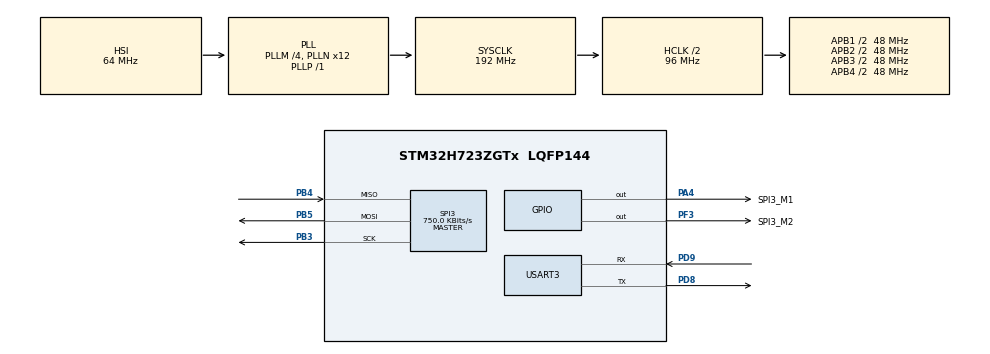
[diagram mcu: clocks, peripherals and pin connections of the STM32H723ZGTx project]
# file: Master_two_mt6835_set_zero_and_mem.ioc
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Mcu.Family=STM32H7
Mcu.Name=STM32H723ZGTx
Mcu.Package=LQFP144
NVIC.PriorityGroup=NVIC_PRIORITYGROUP_4
NVIC.SPI3_IRQn=true\:0\:0\:false\:false\:true\:true\:true\:true
PA4.GPIO_Label=SPI3_M1
PA4.PinState=GPIO_PIN_SET
PA4.Signal=GPIO_Output
PB3(JTDO/TRACESWO).Mode=Full_Duplex_Master
PB3(JTDO/TRACESWO).Signal=SPI3_SCK
PB4(NJTRST).Mode=Full_Duplex_Master
PB4(NJTRST).Signal=SPI3_MISO
PB5.Mode=Full_Duplex_Master
PB5.Signal=SPI3_MOSI
PD8.Mode=Asynchronous
PD8.Signal=USART3_TX
PD9.Mode=Asynchronous
PD9.Signal=USART3_RX
PF3.GPIO_Label=SPI3_M2
PF3.PinState=GPIO_PIN_SET
PF3.Signal=GPIO_Output
ProjectManager.HeapSize=0x200
ProjectManager.StackSize=0x400
ProjectManager.TargetToolchain=STM32CubeIDE
RCC.ADCFreq_Value=608000000
RCC.APB1Freq_Value=48000000
RCC.APB2Freq_Value=48000000
RCC.APB3Freq_Value=48000000
RCC.APB4Freq_Value=48000000
RCC.CortexFreq_Value=192000000
RCC.D1PPRE=RCC_APB3_DIV2
RCC.D2PPRE1=RCC_APB1_DIV2
RCC.D2PPRE2=RCC_APB2_DIV2
RCC.D3PPRE=RCC_APB4_DIV2
RCC.DIVM1=4
RCC.DIVM2=1
RCC.DIVN1=12
RCC.DIVN2=19
RCC.DIVP1=1
RCC.DIVQ1=4
RCC.HCLKFreq_Value=96000000
RCC.HPRE=RCC_HCLK_DIV2
RCC.HSE_VALUE=8000000
RCC.PLLFRACN=0
RCC.SYSCLKFreq_VALUE=192000000
RCC.SYSCLKSource=RCC_SYSCLKSOURCE_PLLCLK
RCC.USBCLockSelection=RCC_USBCLKSOURCE_HSI48
RCC.USBFreq_Value=48000000
SPI3.BaudRatePrescaler=SPI_BAUDRATEPRESCALER_64
SPI3.CLKPhase=SPI_PHASE_2EDGE
SPI3.CLKPolarity=SPI_POLARITY_HIGH
SPI3.CalculateBaudRate=750.0 KBits/s
SPI3.DataSize=SPI_DATASIZE_8BIT
SPI3.Direction=SPI_DIRECTION_2LINES
SPI3.Mode=SPI_MODE_MASTER
SPI3.VirtualType=VM_MASTER
USART3.VirtualMode-Asynchronous=VM_ASYNC
VP_MEMORYMAP_VS_MEMORYMAP.Mode=CurAppReg
board=NUCLEO-H723ZG

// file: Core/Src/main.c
/* USER CODE BEGIN Header */
/**
 ******************************************************************************
 * @file           : main.c
 * @brief          : Main program body
 ******************************************************************************
 * @attention
 *
 * Copyright (c) 2025 STMicroelectronics.
 * All rights reserved.
 *
 * This software is licensed under terms that can be found in the LICENSE file
 * in the root directory of this software component.
 * If no LICENSE file comes with this software, it is provided AS-IS.
 *
 ******************************************************************************
 */
/* USER CODE END Header */
#include "main.h"
#include "memorymap.h"
#include "spi.h"
#include "usart.h"
#include "gpio.h"

/* USER CODE BEGIN Includes */
#include "mt6835.h" // MT6835 驱�?�头�?件
#include "string.h"
#include "stdio.h"
/* USER CODE END Includes */

void SystemClock_Config(void);

/* USER CODE BEGIN 0 */

int _write(int file, char *ptr, int len) {
	HAL_UART_Transmit(&huart3, (uint8_t*) ptr, len, HAL_MAX_DELAY);
	return len;
}

#define SPI_INSTANCE hspi3             // SPI3
//#define SPI_CS       SPI3_M1_Pin       // STM32CubeMX �?�??�?? CS 引�??
//#define SPI_CS_PORT  SPI3_M1_GPIO_Port // STM32CubeMX �?�??�?? CS 端�?�

#define SPI_M1_CS       SPI3_M1_Pin       // CS M1
#define SPI_M1_CS_PORT  SPI3_M1_GPIO_Port //
#define SPI_M2_CS       SPI3_M2_Pin       // CS M2
#define SPI_M2_CS_PORT  SPI3_M2_GPIO_Port //

static void mt6835_cs_control(mt6835_cs_state_enum_t state) {
	if (state == MT6835_CS_HIGH) {
		// 高电平
		HAL_GPIO_WritePin(SPI_M1_CS_PORT, SPI_M1_CS, GPIO_PIN_SET);
	} else {
		// 低电平
		HAL_GPIO_WritePin(SPI_M1_CS_PORT, SPI_M1_CS, GPIO_PIN_RESET);
	}
}

static void mt6835_cs2_control(mt6835_cs_state_enum_t state) {
	if (state == MT6835_CS_HIGH) {
		// 高电平
		HAL_GPIO_WritePin(SPI_M2_CS_PORT, SPI_M2_CS, GPIO_PIN_SET);
	} else {
		// 低电平
		HAL_GPIO_WritePin(SPI_M2_CS_PORT, SPI_M2_CS, GPIO_PIN_RESET);
	}
}

static void mt6835_spi_send_recv(uint8_t *tx_buf, uint8_t *rx_buf, uint8_t len) {
	HAL_StatusTypeDef status = HAL_OK;
	status = HAL_SPI_TransmitReceive_IT(&SPI_INSTANCE, tx_buf, rx_buf, len);
	if (status != HAL_OK) {
		printf("spi send_recv failed %d\n\r", status);
		return;
	}
	// wait IT
	uint32_t tickstart = HAL_GetTick();
	while (HAL_SPI_GetState(&SPI_INSTANCE) != HAL_SPI_STATE_READY) {
		if (HAL_GetTick() - tickstart > 1) {
			printf("spi send_recv timeout\n\r");
			return;
		}
	}
}
/* USER CODE END 0 */

int main(void) {

	/* MCU Configuration--------------------------------------------------------*/

	/* Reset of all peripherals, Initializes the Flash interface and the Systick. */
	HAL_Init();

	/* Configure the system clock */
	SystemClock_Config();

	/* Initialize all configured peripherals */
	MX_GPIO_Init();
	MX_SPI3_Init();
	MX_USART3_UART_Init();
	/* USER CODE BEGIN 2 */

	mt6835_t *mt6835_1;
	mt6835_t *mt6835_2;

	mt6835_1 = mt6835_create();
	mt6835_2 = mt6835_create();

	mt6835_link_spi_cs_control(mt6835_1, mt6835_cs_control);
	mt6835_link_spi_cs_control(mt6835_2, mt6835_cs2_control);

	mt6835_link_spi_send_recv(mt6835_1, mt6835_spi_send_recv);
	mt6835_link_spi_send_recv(mt6835_2, mt6835_spi_send_recv);

	mt6835_enable_crc_check(mt6835_1);
	mt6835_enable_crc_check(mt6835_2);

	uint32_t raw_angle_1 = 0, raw_angle_2 = 0;
	float radian_angle_1 = 0.0f, radian_angle_2 = 0.0f;
	/*
	 //Set ID_1
	 mt6835_set_id(mt6835_1, 0x00);
	 HAL_Delay(1);
	 uint8_t id = mt6835_get_id(mt6835_1);
	 //Show ID_1
	 printf("id: 0x%x\r\n", id);
	 //Show ID_1
	 */

	/*
	 mt6835_set_zero_angle(mt6835_1, 2.0943951024f); //Set by RAD
	 HAL_Delay(1);
	 float zero_angle = mt6835_get_zero_angle(mt6835_1)
	 printf("Zero_angle: %f rad\r\n",zero_angle);
	     bool respond = mt6835_write_eeprom(mt6835);
    if (!respond) {
        printf("write eeprom failed\r\n");
    } else {
        printf("write eeprom success\r\n");
    }
    HAL_Delay(6000);    // 写入后至少 6 秒钟不能断电

	 */

	/* USER CODE END 2 */

	/* Infinite loop */
	while (1) {

		/*Show Data
		 * raw_angle_1 = mt6835_get_raw_angle(mt6835_1,MT6835_READ_ANGLE_METHOD_NORMAL);
		 radian_angle_1 = raw_angle_1 * (M_PI * 2.0f) / MT6835_ANGLE_RESOLUTION;
		 printf("Radian 1: %f\n\r",radian_angle_1);
		 raw_angle_2 = mt6835_get_raw_angle(mt6835_2,MT6835_READ_ANGLE_METHOD_NORMAL);
		 radian_angle_2 = raw_angle_2 * (M_PI * 2.0f) / MT6835_ANGLE_RESOLUTION;
		 printf("Radian 2: %f\n\r",radian_angle_2);
		 */

		//uint8_t id1 =mt6835_get_id(mt6835_1);
		//printf("ID1: 0x%x\r\n",id1);
		//float zero_angle1 = mt6835_get_zero_angle(mt6835_1);
		//printf("zero_angle1 : %f rad\r\n",zero_angle1);
		//uint8_t id2 =mt6835_get_id(mt6835_2);
		//printf("ID2: 0x%x\r\n",id2);
		//float zero_angle2 = mt6835_get_zero_angle(mt6835_2);
		//printf("zero_angle2 : %f rad\r\n",zero_angle2);
		HAL_Delay(500);
	}
}

void SystemClock_Config(void) {
	RCC_OscInitTypeDef RCC_OscInitStruct = { 0 };
	RCC_ClkInitTypeDef RCC_ClkInitStruct = { 0 };

	/** Supply configuration update enable
	 */
	HAL_PWREx_ConfigSupply(PWR_LDO_SUPPLY);

	/** Configure the main internal regulator output voltage
	 */
	__HAL_PWR_VOLTAGESCALING_CONFIG(PWR_REGULATOR_VOLTAGE_SCALE2);

	while (!__HAL_PWR_GET_FLAG(PWR_FLAG_VOSRDY)) {
	}

	/** Initializes the RCC Oscillators according to the specified parameters
	 * in the RCC_OscInitTypeDef structure.
	 */
	RCC_OscInitStruct.OscillatorType = RCC_OSCILLATORTYPE_HSI;
	RCC_OscInitStruct.HSIState = RCC_HSI_DIV1;
	RCC_OscInitStruct.HSICalibrationValue = 64;
	RCC_OscInitStruct.PLL.PLLState = RCC_PLL_ON;
	RCC_OscInitStruct.PLL.PLLSource = RCC_PLLSOURCE_HSI;
	RCC_OscInitStruct.PLL.PLLM = 4;
	RCC_OscInitStruct.PLL.PLLN = 12;
	RCC_OscInitStruct.PLL.PLLP = 1;
	RCC_OscInitStruct.PLL.PLLQ = 4;
	RCC_OscInitStruct.PLL.PLLR = 2;
	RCC_OscInitStruct.PLL.PLLRGE = RCC_PLL1VCIRANGE_3;
	RCC_OscInitStruct.PLL.PLLVCOSEL = RCC_PLL1VCOWIDE;
	RCC_OscInitStruct.PLL.PLLFRACN = 0;
	if (HAL_RCC_OscConfig(&RCC_OscInitStruct) != HAL_OK) {
		Error_Handler();
	}

	/** Initializes the CPU, AHB and APB buses clocks
	 */
	RCC_ClkInitStruct.ClockType = RCC_CLOCKTYPE_HCLK | RCC_CLOCKTYPE_SYSCLK
			| RCC_CLOCKTYPE_PCLK1 | RCC_CLOCKTYPE_PCLK2 | RCC_CLOCKTYPE_D3PCLK1
			| RCC_CLOCKTYPE_D1PCLK1;
	RCC_ClkInitStruct.SYSCLKSource = RCC_SYSCLKSOURCE_PLLCLK;
	RCC_ClkInitStruct.SYSCLKDivider = RCC_SYSCLK_DIV1;
	RCC_ClkInitStruct.AHBCLKDivider = RCC_HCLK_DIV2;
	RCC_ClkInitStruct.APB3CLKDivider = RCC_APB3_DIV2;
	RCC_ClkInitStruct.APB1CLKDivider = RCC_APB1_DIV2;
	RCC_ClkInitStruct.APB2CLKDivider = RCC_APB2_DIV2;
	RCC_ClkInitStruct.APB4CLKDivider = RCC_APB4_DIV2;

	if (HAL_RCC_ClockConfig(&RCC_ClkInitStruct, FLASH_LATENCY_1) != HAL_OK) {
		Error_Handler();
	}
}

void Error_Handler(void) {
	__disable_irq();
	while (1) {
	}
}
